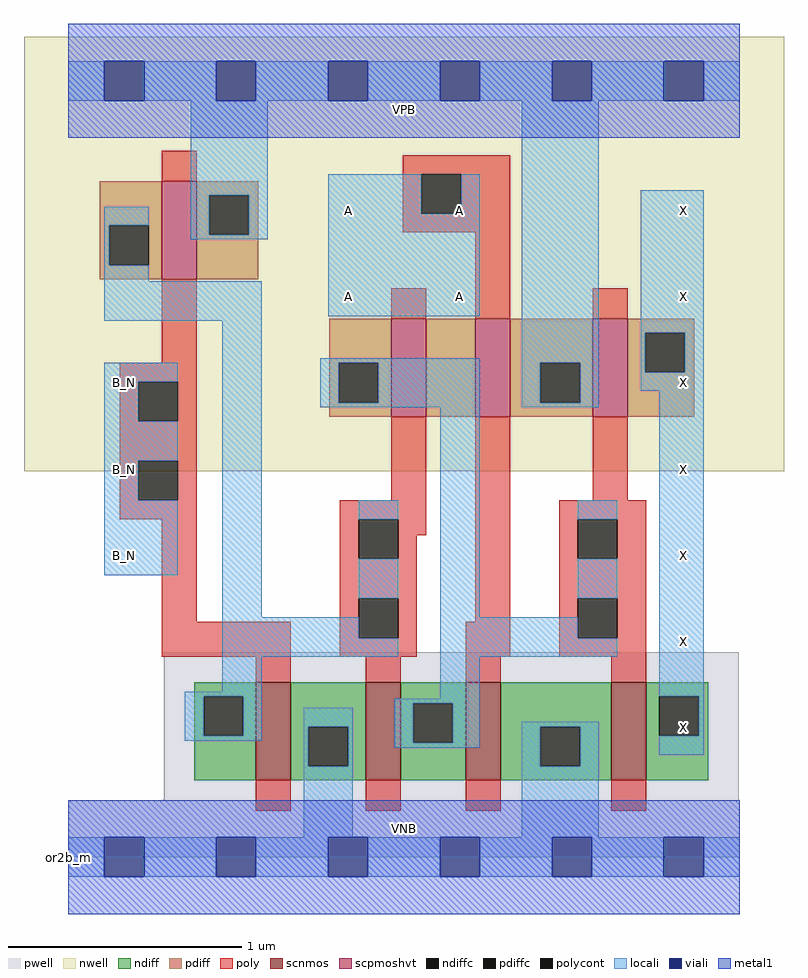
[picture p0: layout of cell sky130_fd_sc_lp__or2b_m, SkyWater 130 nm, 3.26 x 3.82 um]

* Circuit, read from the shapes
.subckt sky130_fd_sc_lp__or2b_m A B_N VGND VNB VPB VPWR X
XM1 VGND B_N n1 VNB sky130_fd_pr__nfet_01v8 w=0.42 l=0.15
XM2 n2 n1 VGND VNB sky130_fd_pr__nfet_01v8 w=0.42 l=0.15
XM3 VGND A n2 VNB sky130_fd_pr__nfet_01v8 w=0.42 l=0.15
XM4 X n2 VGND VNB sky130_fd_pr__nfet_01v8 w=0.42 l=0.15
XM5 VPWR B_N n1 VPB sky130_fd_pr__pfet_01v8_hvt w=0.42 l=0.15
XM6 n3 n1 n2 VPB sky130_fd_pr__pfet_01v8_hvt w=0.42 l=0.15
XM7 VPWR A n3 VPB sky130_fd_pr__pfet_01v8_hvt w=0.42 l=0.15
XM8 X n2 VPWR VPB sky130_fd_pr__pfet_01v8_hvt w=0.42 l=0.15
.ends

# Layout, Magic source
magic
tech sky130A
magscale 1 2
<< nwell >>
rect -38 331 614 704
<< pwell >>
rect 82 49 575 176
rect 0 0 576 49
<< scnmos >>
rect 161 66 191 150
rect 255 66 285 150
rect 341 66 371 150
rect 466 66 496 150
<< scpmoshvt >>
rect 80 496 110 580
rect 277 378 307 462
rect 349 378 379 462
rect 450 378 480 462
<< ndiff >>
rect 108 138 161 150
rect 108 104 116 138
rect 150 104 161 138
rect 108 66 161 104
rect 191 112 255 150
rect 191 78 206 112
rect 240 78 255 112
rect 191 66 255 78
rect 285 132 341 150
rect 285 98 296 132
rect 330 98 341 132
rect 285 66 341 98
rect 371 112 466 150
rect 371 78 405 112
rect 439 78 466 112
rect 371 66 466 78
rect 496 138 549 150
rect 496 104 507 138
rect 541 104 549 138
rect 496 66 549 104
<< pdiff >>
rect 27 542 80 580
rect 27 508 35 542
rect 69 508 80 542
rect 27 496 80 508
rect 110 568 163 580
rect 110 534 121 568
rect 155 534 163 568
rect 110 496 163 534
rect 224 424 277 462
rect 224 390 232 424
rect 266 390 277 424
rect 224 378 277 390
rect 307 378 349 462
rect 379 424 450 462
rect 379 390 405 424
rect 439 390 450 424
rect 379 378 450 390
rect 480 450 537 462
rect 480 416 495 450
rect 529 416 537 450
rect 480 378 537 416
<< ndiffc >>
rect 116 104 150 138
rect 206 78 240 112
rect 296 98 330 132
rect 405 78 439 112
rect 507 104 541 138
<< pdiffc >>
rect 35 508 69 542
rect 121 534 155 568
rect 232 390 266 424
rect 405 390 439 424
rect 495 416 529 450
<< poly >>
rect 80 580 110 606
rect 287 586 379 602
rect 287 552 303 586
rect 337 552 379 586
rect 287 536 379 552
rect 80 424 110 496
rect 277 462 307 488
rect 349 462 379 536
rect 450 462 480 488
rect 44 408 110 424
rect 44 374 60 408
rect 94 374 110 408
rect 44 340 110 374
rect 44 306 60 340
rect 94 306 110 340
rect 277 306 307 378
rect 44 290 110 306
rect 80 202 110 290
rect 233 290 307 306
rect 233 256 249 290
rect 283 276 307 290
rect 283 256 299 276
rect 233 222 299 256
rect 80 172 191 202
rect 233 188 249 222
rect 283 188 299 222
rect 349 202 379 378
rect 450 306 480 378
rect 233 172 299 188
rect 341 172 379 202
rect 421 290 496 306
rect 421 256 437 290
rect 471 256 496 290
rect 421 222 496 256
rect 421 188 437 222
rect 471 188 496 222
rect 421 172 496 188
rect 161 150 191 172
rect 255 150 285 172
rect 341 150 371 172
rect 466 150 496 172
rect 161 40 191 66
rect 255 40 285 66
rect 341 40 371 66
rect 466 40 496 66
<< polycont >>
rect 303 552 337 586
rect 60 374 94 408
rect 60 306 94 340
rect 249 256 283 290
rect 249 188 283 222
rect 437 256 471 290
rect 437 188 471 222
<< locali >>
rect 0 649 31 683
rect 65 649 127 683
rect 161 649 223 683
rect 257 649 319 683
rect 353 649 415 683
rect 449 649 511 683
rect 545 649 576 683
rect 105 568 171 649
rect 31 542 69 558
rect 31 508 35 542
rect 105 534 121 568
rect 155 534 171 568
rect 105 530 171 534
rect 223 552 303 586
rect 337 552 353 586
rect 31 494 69 508
rect 31 460 166 494
rect 223 464 353 552
rect 31 408 94 424
rect 31 374 60 408
rect 31 340 94 374
rect 31 306 60 340
rect 31 242 94 306
rect 132 206 166 460
rect 216 424 353 428
rect 216 390 232 424
rect 266 390 353 424
rect 216 386 353 390
rect 389 424 455 649
rect 389 390 405 424
rect 439 390 455 424
rect 491 450 545 572
rect 491 416 495 450
rect 529 416 545 450
rect 491 400 545 416
rect 389 386 455 390
rect 249 290 283 306
rect 249 222 283 256
rect 132 188 249 206
rect 132 172 283 188
rect 319 206 353 386
rect 437 290 471 306
rect 437 222 471 256
rect 319 188 437 206
rect 319 172 471 188
rect 132 142 166 172
rect 100 138 166 142
rect 100 104 116 138
rect 150 104 166 138
rect 319 136 353 172
rect 280 132 353 136
rect 100 100 166 104
rect 202 112 244 128
rect 202 78 206 112
rect 240 78 244 112
rect 280 98 296 132
rect 330 98 353 132
rect 507 138 545 400
rect 280 94 353 98
rect 389 112 455 116
rect 202 17 244 78
rect 389 78 405 112
rect 439 78 455 112
rect 541 104 545 138
rect 507 88 545 104
rect 389 17 455 78
rect 0 -17 31 17
rect 65 -17 127 17
rect 161 -17 223 17
rect 257 -17 319 17
rect 353 -17 415 17
rect 449 -17 511 17
rect 545 -17 576 17
<< viali >>
rect 31 649 65 683
rect 127 649 161 683
rect 223 649 257 683
rect 319 649 353 683
rect 415 649 449 683
rect 511 649 545 683
rect 31 -17 65 17
rect 127 -17 161 17
rect 223 -17 257 17
rect 319 -17 353 17
rect 415 -17 449 17
rect 511 -17 545 17
<< metal1 >>
rect 0 683 576 715
rect 0 649 31 683
rect 65 649 127 683
rect 161 649 223 683
rect 257 649 319 683
rect 353 649 415 683
rect 449 649 511 683
rect 545 649 576 683
rect 0 617 576 649
rect 0 17 576 49
rect 0 -17 31 17
rect 65 -17 127 17
rect 161 -17 223 17
rect 257 -17 319 17
rect 353 -17 415 17
rect 449 -17 511 17
rect 545 -17 576 17
rect 0 -49 576 -17
<< labels >>
flabel pwell s 0 0 576 49 0 FreeSans 200 0 0 0 VNB
port 4 nsew ground bidirectional
flabel nwell s 0 617 576 666 0 FreeSans 200 0 0 0 VPB
port 5 nsew power bidirectional
rlabel comment s 0 0 0 0 4 or2b_m
flabel metal1 s 0 617 576 666 0 FreeSans 340 0 0 0 VPWR
port 6 nsew power bidirectional
flabel metal1 s 0 0 576 49 0 FreeSans 340 0 0 0 VGND
port 3 nsew ground bidirectional
flabel locali s 511 94 545 128 0 FreeSans 340 0 0 0 X
port 7 nsew signal output
flabel locali s 511 168 545 202 0 FreeSans 340 0 0 0 X
port 7 nsew signal output
flabel locali s 511 242 545 276 0 FreeSans 340 0 0 0 X
port 7 nsew signal output
flabel locali s 511 316 545 350 0 FreeSans 340 0 0 0 X
port 7 nsew signal output
flabel locali s 511 390 545 424 0 FreeSans 340 0 0 0 X
port 7 nsew signal output
flabel locali s 511 464 545 498 0 FreeSans 340 0 0 0 X
port 7 nsew signal output
flabel locali s 511 538 545 572 0 FreeSans 340 0 0 0 X
port 7 nsew signal output
flabel locali s 223 464 257 498 0 FreeSans 340 0 0 0 A
port 1 nsew signal input
flabel locali s 223 538 257 572 0 FreeSans 340 0 0 0 A
port 1 nsew signal input
flabel locali s 319 464 353 498 0 FreeSans 340 0 0 0 A
port 1 nsew signal input
flabel locali s 319 538 353 572 0 FreeSans 340 0 0 0 A
port 1 nsew signal input
flabel locali s 31 242 65 276 0 FreeSans 340 0 0 0 B_N
port 2 nsew signal input
flabel locali s 31 316 65 350 0 FreeSans 340 0 0 0 B_N
port 2 nsew signal input
flabel locali s 31 390 65 424 0 FreeSans 340 0 0 0 B_N
port 2 nsew signal input
<< properties >>
string LEFsite unit
string LEFclass CORE
string FIXED_BBOX 0 0 576 666
string GDS_FILE $PDKPATH/libs.ref/sky130_fd_sc_lp/gds/sky130_fd_sc_lp.gds
string LEFsymmetry X Y R90
string GDS_END 2251430
string GDS_START 2244992
<< end >>
